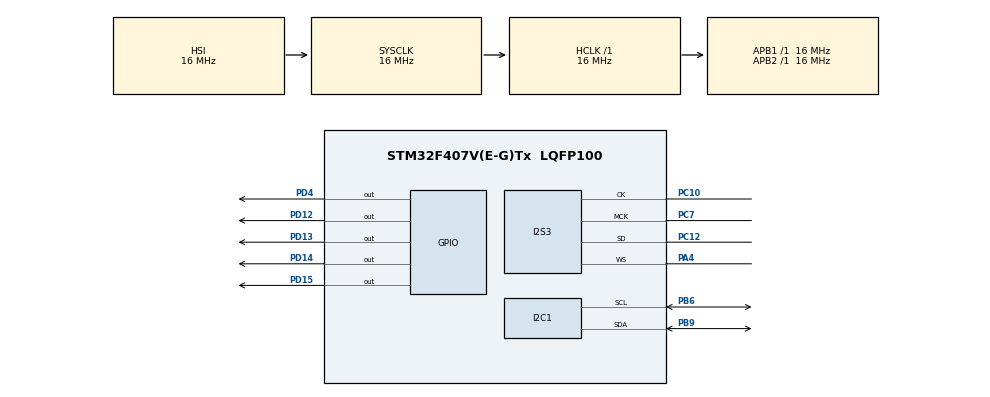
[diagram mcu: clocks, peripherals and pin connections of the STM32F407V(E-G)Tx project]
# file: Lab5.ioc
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Dma.Request0=SPI3_TX
Dma.SPI3_TX.0.Direction=DMA_MEMORY_TO_PERIPH
Dma.SPI3_TX.0.FIFOMode=DMA_FIFOMODE_ENABLE
Dma.SPI3_TX.0.FIFOThreshold=DMA_FIFO_THRESHOLD_FULL
Dma.SPI3_TX.0.Instance=DMA1_Stream5
Dma.SPI3_TX.0.MemBurst=DMA_MBURST_SINGLE
Dma.SPI3_TX.0.MemDataAlignment=DMA_MDATAALIGN_HALFWORD
Dma.SPI3_TX.0.MemInc=DMA_MINC_ENABLE
Dma.SPI3_TX.0.Mode=DMA_CIRCULAR
Dma.SPI3_TX.0.PeriphBurst=DMA_PBURST_SINGLE
Dma.SPI3_TX.0.PeriphDataAlignment=DMA_PDATAALIGN_HALFWORD
Dma.SPI3_TX.0.PeriphInc=DMA_PINC_DISABLE
Dma.SPI3_TX.0.Priority=DMA_PRIORITY_LOW
I2S3.AudioFreq=I2S_AUDIOFREQ_48K
I2S3.ErrorAudioFreq=-2.34 %
I2S3.FullDuplexMode=I2S_FULLDUPLEXMODE_DISABLE
I2S3.Instance=SPI$Index
I2S3.RealAudioFreq=46.875 KHz
I2S3.VirtualMode=I2S_MODE_MASTER
Mcu.Family=STM32F4
Mcu.Name=STM32F407V(E-G)Tx
Mcu.Package=LQFP100
NVIC.DMA1_Stream5_IRQn=true\:0\:0\:false\:false\:true\:false\:true\:true
NVIC.PriorityGroup=NVIC_PRIORITYGROUP_4
PA4.Mode=Half_Duplex_Master
PA4.Signal=I2S3_WS
PB6.Mode=I2C
PB6.Signal=I2C1_SCL
PB9.Mode=I2C
PB9.Signal=I2C1_SDA
PC10.Mode=Half_Duplex_Master
PC10.Signal=I2S3_CK
PC12.Mode=Half_Duplex_Master
PC12.Signal=I2S3_SD
PC7.Mode=Master_Clock_Activated
PC7.Signal=I2S3_MCK
PD12.Signal=GPIO_Output
PD13.Signal=GPIO_Output
PD14.Signal=GPIO_Output
PD15.Signal=GPIO_Output
PD4.Signal=GPIO_Output
ProjectManager.HeapSize=0x200
ProjectManager.StackSize=0x400
ProjectManager.TargetToolchain=STM32CubeIDE
RCC.AHBFreq_Value=16000000
RCC.APB1Freq_Value=16000000
RCC.APB2Freq_Value=16000000
RCC.CortexFreq_Value=16000000
RCC.HSE_VALUE=25000000
RCC.HSI_VALUE=16000000
RCC.LSE_VALUE=32768
RCC.SYSCLKFreq_VALUE=16000000
RCC.VCOOutputFreq_Value=192000000
board=custom

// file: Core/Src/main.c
/* USER CODE BEGIN Header */
/* USER CODE END Header */
#include "main.h"

/* USER CODE BEGIN Includes */
#include "cs43l22_beep.h"
/* USER CODE END Includes */

I2C_HandleTypeDef hi2c1;

I2S_HandleTypeDef hi2s3;
DMA_HandleTypeDef hdma_spi3_tx;

void SystemClock_Config(void);
static void MX_GPIO_Init(void);
static void MX_DMA_Init(void);
static void MX_I2C1_Init(void);
static void MX_I2S3_Init(void);

int main(void)
{

  /* MCU Configuration--------------------------------------------------------*/

  /* Reset of all peripherals, Initializes the Flash interface and the Systick. */
  HAL_Init();

  /* Configure the system clock */
  SystemClock_Config();

  /* Initialize all configured peripherals */
  MX_GPIO_Init();
  MX_DMA_Init();
  MX_I2C1_Init();
  MX_I2S3_Init();
  /* USER CODE BEGIN 2 */
  int16_t dataI2S[100] = {0};

  CS43L22_Init();
  HAL_I2S_Transmit_DMA(&hi2s3, (uint16_t *)dataI2S, 100);

  soundToneType melody[] = {
      E5, E5, E5,
      C5, E5, G5,
      G5, C5, G5, E5,

      A5, B5, A5,
      G5, E5, G5,
      A5, F5, G5
  };

  uint32_t dur[] = {
      150,150,300,
      150,300,300,
      300,300,300,300,

      200,200,200,
      200,200,200,
      300,300,500
  };
  uint16_t leds[] = {GPIO_PIN_12, GPIO_PIN_13, GPIO_PIN_14, GPIO_PIN_15};
  uint8_t n = sizeof(melody)/sizeof(melody[0]);

  for (uint8_t rep = 0; rep < 3; rep++)
  {
      for (uint8_t i = 0; i < n; i++)
      {
          HAL_GPIO_WritePin(GPIOD, leds[i % 4], GPIO_PIN_SET);
          CS43L22_Beep(melody[i], dur[i]);
          HAL_GPIO_WritePin(GPIOD, leds[i % 4], GPIO_PIN_RESET);
          HAL_Delay(30);
      }
      HAL_Delay(500);
  }
  HAL_GPIO_WritePin(GPIOD,
      GPIO_PIN_12|GPIO_PIN_13|GPIO_PIN_14|GPIO_PIN_15,
      GPIO_PIN_RESET);
  /* USER CODE END 2 */

  /* Infinite loop */

}

void SystemClock_Config(void)
{
  RCC_OscInitTypeDef RCC_OscInitStruct = {0};
  RCC_ClkInitTypeDef RCC_ClkInitStruct = {0};

  /** Macro to configure the PLL multiplication factor
  */
  __HAL_RCC_PLL_PLLM_CONFIG(16);

  /** Macro to configure the PLL clock source
  */
  __HAL_RCC_PLL_PLLSOURCE_CONFIG(RCC_PLLSOURCE_HSI);

  /** Configure the main internal regulator output voltage
  */
  __HAL_RCC_PWR_CLK_ENABLE();
  __HAL_PWR_VOLTAGESCALING_CONFIG(PWR_REGULATOR_VOLTAGE_SCALE1);

  /** Initializes the RCC Oscillators according to the specified parameters
  * in the RCC_OscInitTypeDef structure.
  */
  RCC_OscInitStruct.OscillatorType = RCC_OSCILLATORTYPE_HSI;
  RCC_OscInitStruct.HSIState = RCC_HSI_ON;
  RCC_OscInitStruct.HSICalibrationValue = RCC_HSICALIBRATION_DEFAULT;
  RCC_OscInitStruct.PLL.PLLState = RCC_PLL_NONE;
  RCC_OscInitStruct.PLL.PLLSource = RCC_PLLSOURCE_HSI;
  if (HAL_RCC_OscConfig(&RCC_OscInitStruct) != HAL_OK)
  {
    Error_Handler();
  }

  /** Initializes the CPU, AHB and APB buses clocks
  */
  RCC_ClkInitStruct.ClockType = RCC_CLOCKTYPE_HCLK|RCC_CLOCKTYPE_SYSCLK
                              |RCC_CLOCKTYPE_PCLK1|RCC_CLOCKTYPE_PCLK2;
  RCC_ClkInitStruct.SYSCLKSource = RCC_SYSCLKSOURCE_HSI;
  RCC_ClkInitStruct.AHBCLKDivider = RCC_SYSCLK_DIV1;
  RCC_ClkInitStruct.APB1CLKDivider = RCC_HCLK_DIV1;
  RCC_ClkInitStruct.APB2CLKDivider = RCC_HCLK_DIV1;

  if (HAL_RCC_ClockConfig(&RCC_ClkInitStruct, FLASH_LATENCY_0) != HAL_OK)
  {
    Error_Handler();
  }
}

static void MX_I2C1_Init(void)
{

  hi2c1.Instance = I2C1;
  hi2c1.Init.ClockSpeed = 100000;
  hi2c1.Init.DutyCycle = I2C_DUTYCYCLE_2;
  hi2c1.Init.OwnAddress1 = 0;
  hi2c1.Init.AddressingMode = I2C_ADDRESSINGMODE_7BIT;
  hi2c1.Init.DualAddressMode = I2C_DUALADDRESS_DISABLE;
  hi2c1.Init.OwnAddress2 = 0;
  hi2c1.Init.GeneralCallMode = I2C_GENERALCALL_DISABLE;
  hi2c1.Init.NoStretchMode = I2C_NOSTRETCH_DISABLE;
  if (HAL_I2C_Init(&hi2c1) != HAL_OK)
  {
    Error_Handler();
  }

}

static void MX_I2S3_Init(void)
{

  hi2s3.Instance = SPI3;
  hi2s3.Init.Mode = I2S_MODE_MASTER_TX;
  hi2s3.Init.Standard = I2S_STANDARD_PHILIPS;
  hi2s3.Init.DataFormat = I2S_DATAFORMAT_16B;
  hi2s3.Init.MCLKOutput = I2S_MCLKOUTPUT_ENABLE;
  hi2s3.Init.AudioFreq = I2S_AUDIOFREQ_48K;
  hi2s3.Init.CPOL = I2S_CPOL_LOW;
  hi2s3.Init.ClockSource = I2S_CLOCK_PLL;
  hi2s3.Init.FullDuplexMode = I2S_FULLDUPLEXMODE_DISABLE;
  if (HAL_I2S_Init(&hi2s3) != HAL_OK)
  {
    Error_Handler();
  }

}

static void MX_DMA_Init(void)
{

  /* DMA controller clock enable */
  __HAL_RCC_DMA1_CLK_ENABLE();

  /* DMA interrupt init */
  /* DMA1_Stream5_IRQn interrupt configuration */
  HAL_NVIC_SetPriority(DMA1_Stream5_IRQn, 0, 0);
  HAL_NVIC_EnableIRQ(DMA1_Stream5_IRQn);

}

static void MX_GPIO_Init(void)
{
  GPIO_InitTypeDef GPIO_InitStruct = {0};

  /* GPIO Ports Clock Enable */
  __HAL_RCC_GPIOA_CLK_ENABLE();
  __HAL_RCC_GPIOD_CLK_ENABLE();
  __HAL_RCC_GPIOC_CLK_ENABLE();
  __HAL_RCC_GPIOB_CLK_ENABLE();

  /*Configure GPIO pin Output Level */
  HAL_GPIO_WritePin(GPIOD, GPIO_PIN_12|GPIO_PIN_13|GPIO_PIN_14|GPIO_PIN_15
                          |GPIO_PIN_4, GPIO_PIN_RESET);

  /*Configure GPIO pins : PD12 PD13 PD14 PD15
                           PD4 */
  GPIO_InitStruct.Pin = GPIO_PIN_12|GPIO_PIN_13|GPIO_PIN_14|GPIO_PIN_15
                          |GPIO_PIN_4;
  GPIO_InitStruct.Mode = GPIO_MODE_OUTPUT_PP;
  GPIO_InitStruct.Pull = GPIO_NOPULL;
  GPIO_InitStruct.Speed = GPIO_SPEED_FREQ_LOW;
  HAL_GPIO_Init(GPIOD, &GPIO_InitStruct);

}

void Error_Handler(void)
{
}
